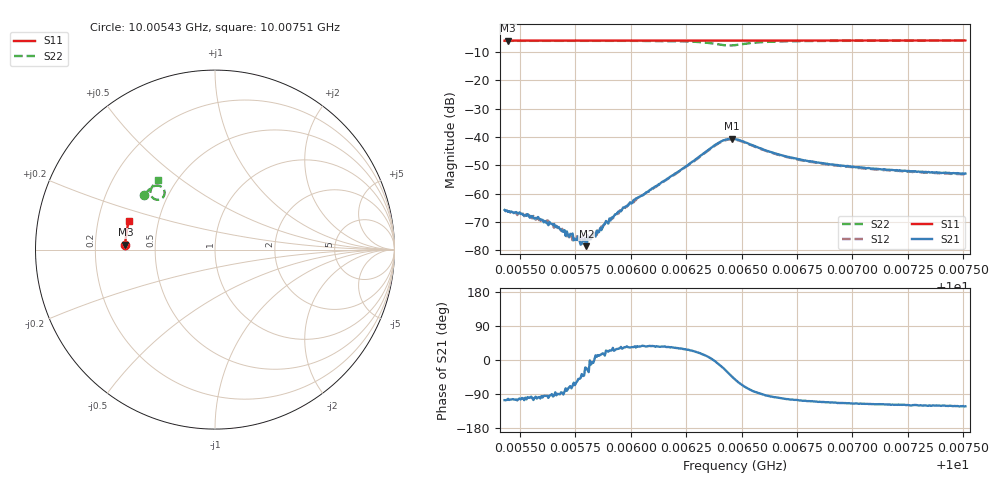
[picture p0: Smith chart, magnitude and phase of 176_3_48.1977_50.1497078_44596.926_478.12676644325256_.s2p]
#  HZ  S  RI  R  50.00
! Rohde & Schwarz Vector Network Analyzer
! Rohde-Schwarz,ZNB20-2Port,1311601062101988,3.16
! Created: UTC 3/20/2024, 11:43:56 AM
! freq[Hz]  re:S11  im:S11  re:S21  im:S21  re:S12  im:S12  re:S22  im:S22
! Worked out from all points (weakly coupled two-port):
!   401 points, 10.00543 GHz to 10.00751 GHz, reference 50 ohm
!   highest |S21| = -40.65 dB at 10.00645 GHz (marker M1); lowest = -78.5 dB at 10.0058 GHz (marker M2)
!   lowest |S11| = -6.0 dB at 10.00545 GHz (marker M3), VSWR 3.00, Z = 16.7 + j1.19 ohm
!   |S11| at or under -10 dB: nowhere
!   |S22| runs from -7.7 to -6.0 dB; largest |S21 - S12| = 0.00057
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1.0005431e10  -0.4999 0.0257  -0.000142 -0.000496  -0.000111 -0.000469  -0.3929 0.3034
1.0005447e10  -0.4997 0.0267  -0.000103 -0.000465  -8.5e-05 -0.000473  -0.3922 0.3044
1.0005592e10  -0.4995 0.0361  -6.99e-05 -0.000343  -5.59e-05 -0.000344  -0.3857 0.3132
1.0005618e10  -0.4994 0.0379  -2.61e-05 -0.000309  -6.62e-07 -0.000323  -0.3844 0.3145
1.0005644e10  -0.4992 0.0395  -5.92e-07 -0.000292  2.71e-07 -0.000277  -0.3833 0.3162
1.000567e10  -0.4992 0.0411  2.74e-06 -0.000253  8.66e-06 -0.000248  -0.382 0.3178
1.0005743e10  -0.499 0.046  7.56e-05 -0.00013  7.49e-05 -0.000139  -0.3783 0.3225
1.0005779e10  -0.4988 0.0484  0.000104 -7.93e-05  0.000147 -8.74e-05  -0.3763 0.3246
1.00058e10  -0.4989 0.0497  0.00011 -4.31e-05  0.000123 -4.98e-05  -0.3753 0.3259
1.0005826e10  -0.4987 0.0513  0.000193 -2.04e-05  0.000175 -3.2e-05  -0.3737 0.3277
1.0005847e10  -0.4985 0.0527  0.00022 3.36e-05  0.000187 1.5e-05  -0.3725 0.329
1.0005883e10  -0.4983 0.055  0.000286 5.96e-05  0.000284 6.39e-05  -0.3704 0.3315
1.000594e10  -0.498 0.0587  0.000404 0.000225  0.000379 0.00024  -0.3665 0.3352
1.0006023e10  -0.4975 0.0643  0.00069 0.000445  0.000598 0.000487  -0.3603 0.341
1.0006127e10  -0.4967 0.0709  0.00121 0.000855  0.00113 0.00088  -0.35 0.3486
1.0006387e10  -0.4939 0.0875  0.00746 -0.000845  0.00733 -0.000433  -0.2833 0.3309
1.0006455e10  -0.4932 0.0912  0.0068 -0.00632  0.00698 -0.00577  -0.2989 0.2836
1.000647e10  -0.4933 0.0921  0.00574 -0.00715  0.00596 -0.00671  -0.3102 0.2787
1.0006668e10  -0.4917 0.1047  -0.00081 -0.00485  -0.000612 -0.0048  -0.3592 0.3246
1.0006818e10  -0.49 0.1144  -0.00118 -0.00351  -0.00102 -0.00347  -0.3526 0.3455
1.0007166e10  -0.4852 0.1362  -0.0012 -0.00236  -0.00109 -0.00233  -0.334 0.3717
1.0007509e10  -0.4793 0.1577  -0.00121 -0.00192  -0.00108 -0.0019  -0.3162 0.39
